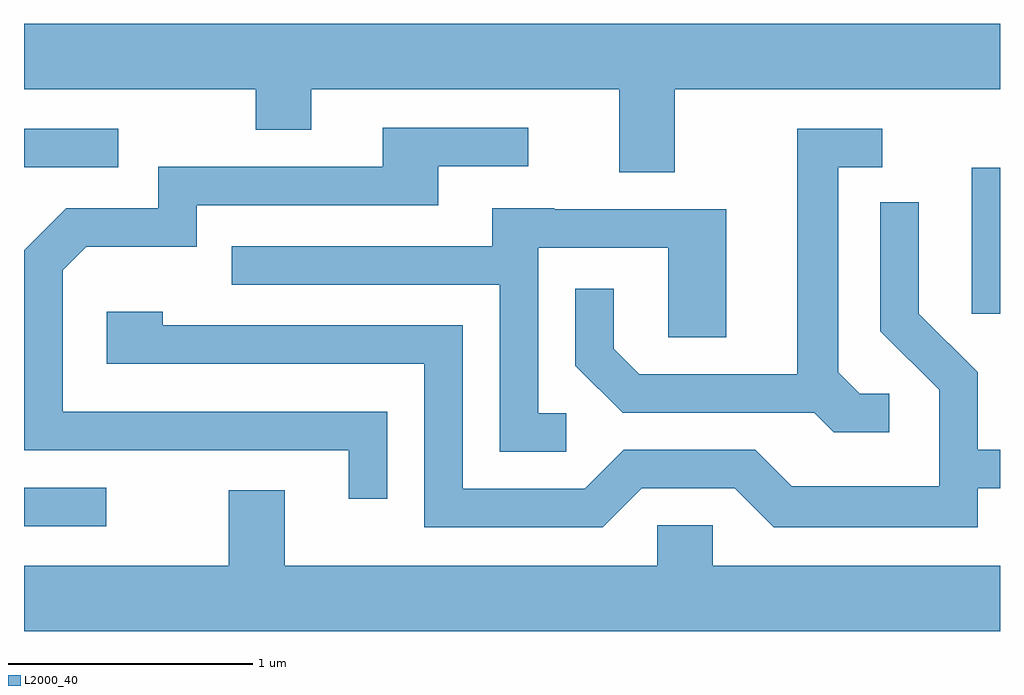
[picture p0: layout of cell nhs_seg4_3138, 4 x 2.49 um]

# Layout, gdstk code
import gdstk
lib = gdstk.Library(unit=1e-6, precision=1e-09)
def R(c, l, rs):  # rectangles x0, y0, x1, y1
    for r in rs: c.add(gdstk.rectangle(r[:2], r[2:], *l))
def P(c, l, *ps):  # polygons
    for p in ps: c.add(gdstk.Polygon(p, *l))
L2000_40 = (2000, 40)

nhs_seg4_3138 = lib.new_cell('nhs_seg4_3138')
R(nhs_seg4_3138, L2000_40, [(277.611,1275.186,277.948,1275.344), (281.496,1276.056,281.611,1276.654), (277.611,1276.656,277.998,1276.814)])
P(nhs_seg4_3138, L2000_40, [(280.279,1276.976),(281.611,1276.976),(281.611,1277.244),(277.611,1277.244),(277.611,1276.976),(278.561,1276.976),(278.561,1276.811),(278.789,1276.811),(278.789,1276.976),(280.051,1276.976),(280.051,1276.636),(280.279,1276.636)],
  [(279.099,1275.654),(277.769,1275.654),(277.769,1276.234),(277.867,1276.331),(278.319,1276.331),(278.319,1276.501),(279.309,1276.501),(279.309,1276.661),(279.678,1276.661),(279.678,1276.819),(279.081,1276.819),(279.081,1276.659),(278.161,1276.659),(278.161,1276.489),(277.784,1276.489),(277.611,1276.317),(277.611,1275.496),(278.941,1275.496),(278.941,1275.298),(279.099,1275.298)],
  [(281.158,1275.729),(281.037,1275.729),(280.949,1275.817),(280.949,1276.656),(281.128,1276.656),(281.128,1276.814),(280.781,1276.814),(280.781,1275.809),(280.132,1275.809),(280.029,1275.912),(280.029,1276.158),(279.871,1276.158),(279.871,1275.844),(280.064,1275.651),(280.849,1275.651),(280.929,1275.571),(281.158,1275.571)],
  [(280.142,1275.341),(280.524,1275.341),(280.684,1275.181),(281.519,1275.181),(281.519,1275.341),(281.611,1275.341),(281.611,1275.499),(281.519,1275.499),(281.519,1275.817),(281.279,1276.057),(281.279,1276.513),(281.121,1276.513),(281.121,1275.984),(281.361,1275.744),(281.361,1275.349),(280.757,1275.349),(280.607,1275.499),(280.069,1275.499),(279.909,1275.339),(279.409,1275.339),(279.409,1276.009),(278.179,1276.009),(278.179,1276.064),(277.951,1276.064),(277.951,1275.851),(279.251,1275.851),(279.251,1275.181),(279.982,1275.181)],
  [(279.833,1275.649),(279.719,1275.649),(279.719,1276.326),(280.251,1276.326),(280.251,1275.961),(280.489,1275.961),(280.489,1276.484),(279.785,1276.484),(279.785,1276.489),(279.531,1276.489),(279.531,1276.334),(278.463,1276.334),(278.463,1276.176),(279.561,1276.176),(279.561,1275.491),(279.833,1275.491)],
  [(281.611,1275.024),(280.434,1275.024),(280.434,1275.189),(280.206,1275.189),(280.206,1275.024),(278.679,1275.024),(278.679,1275.334),(278.451,1275.334),(278.451,1275.024),(277.611,1275.024),(277.611,1274.756),(281.611,1274.756)])

lib.write_gds('nhs_seg4_3138.gds')
